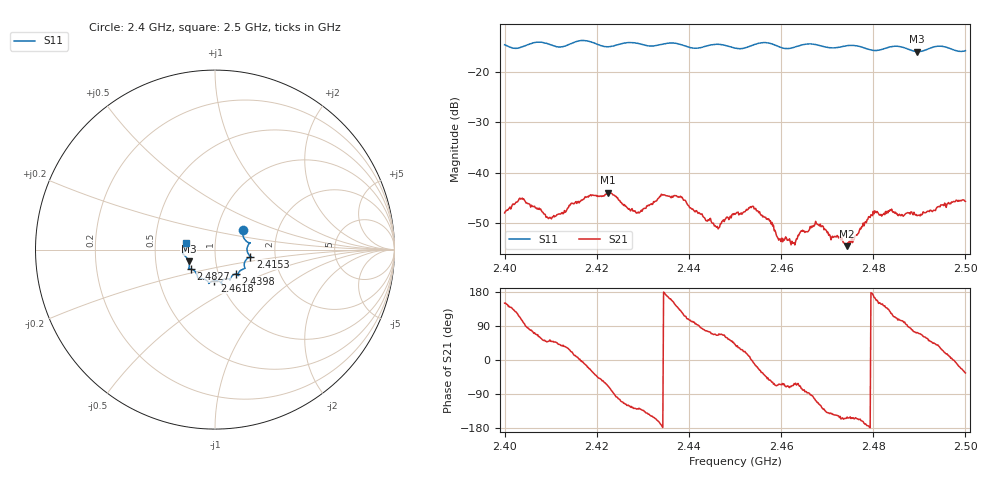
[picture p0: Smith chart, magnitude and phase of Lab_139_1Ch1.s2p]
# Hz S RI R 50
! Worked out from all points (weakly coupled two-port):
!   601 points, 2.4 GHz to 2.5 GHz, reference 50 ohm
!   highest |S21| = -44.03 dB at 2.4225 GHz (marker M1); lowest = -54.7 dB at 2.4743 GHz (marker M2)
!   lowest |S11| = -15.9 dB at 2.4895 GHz (marker M3), VSWR 1.38, Z = 37 - j4.99 ohm
!   |S11| at or under -10 dB: start of sweep to end of sweep
!   S12 and S22 are empty: the file has one direction only
!   S11 on the Smith chart (normalised r, x): 2.4 GHz: 1.33, +0.29; 2.4153 GHz: 1.48, -0.12; 2.4398 GHz: 1.21, -0.34; 2.4618 GHz: 0.94, -0.33; 2.4827 GHz: 0.75, -0.17; 2.5 GHz: 0.72, +0.06
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2.4e9  0.1548 0.1064  -0.00343 0.00198  0 0  0 0
2.403667e9  0.1705 0.0508  -0.00151 0.00525  0 0  0 0
2.41e9  0.1858 0.0271  0.00229 0.00266  0 0  0 0
2.415333e9  0.1968 -0.0391  0.00493 0.00105  0 0  0 0
2.416667e9  0.2027 -0.0431  0.00532 -0.000167  0 0  0 0
2.4225e9  0.1651 -0.0706  0.00223 -0.00588  0 0  0 0
2.429e9  0.1619 -0.1063  -0.00257 -0.00312  0 0  0 0
2.433333e9  0.1297 -0.1341  -0.00525 -0.00174  0 0  0 0
2.439833e9  0.1152 -0.1362  -0.0015 0.00446  0 0  0 0
2.446e9  0.0841 -0.1706  0.00118 0.00258  0 0  0 0
2.45e9  0.0651 -0.1619  0.00286 0.00254  0 0  0 0
2.454e9  0.0356 -0.1839  0.00456 -0.000586  0 0  0 0
2.457833e9  0.0379 -0.1893  0.00173 -0.00254  0 0  0 0
2.4595e9  0.0265 -0.178  0.000934 -0.0019  0 0  0 0
2.461833e9  -0.00318 -0.1729  0.000644 -0.00209  0 0  0 0
2.466667e9  -0.0346 -0.1882  -0.000196 -0.00291  0 0  0 0
2.474333e9  -0.0906 -0.1603  -0.00161 -0.000907  0 0  0 0
2.48e9  -0.1099 -0.123  -0.00406 0.000647  0 0  0 0
2.482667e9  -0.1351 -0.1089  -0.00307 0.00269  0 0  0 0
2.483333e9  -0.1402 -0.1084  -0.00288 0.00301  0 0  0 0
2.4895e9  -0.1462 -0.0658  0.00111 0.00355  0 0  0 0
2.5e9  -0.1594 0.0391  0.00427 -0.0029  0 0  0 0
